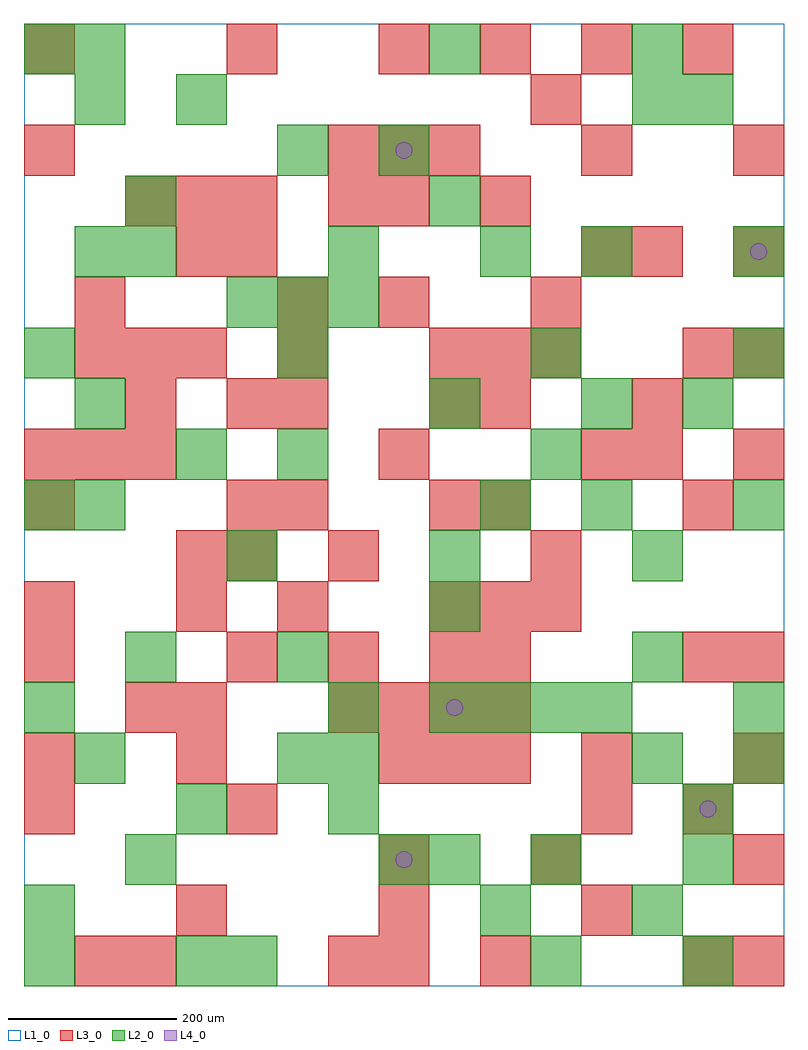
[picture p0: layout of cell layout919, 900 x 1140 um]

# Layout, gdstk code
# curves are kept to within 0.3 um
import gdstk
lib = gdstk.Library(unit=1e-6, precision=1e-09)
def R(c, l, rs):  # rectangles x0, y0, x1, y1
    for r in rs: c.add(gdstk.rectangle(r[:2], r[2:], *l))
def A(c, l, x, y, w, h, nx, ny, dx, dy):  # array of equal rectangles
    R(c, l, [(x+i*dx, y+j*dy, x+i*dx+w, y+j*dy+h) for i in range(nx) for j in range(ny)])
def P(c, l, *ps):  # polygons
    for p in ps: c.add(gdstk.Polygon(p, *l))
L1_0 = (1, 0)
L2_0 = (2, 0)
L3_0 = (3, 0)
L4_0 = (4, 0)

layout919 = lib.new_cell('layout919')
R(layout919, L1_0, [(0,0,900,1140)])
A(layout919, L2_0, 0, 60, 60, 60, 1, 3, 0, 240)
A(layout919, L2_0, 180, 180, 60, 60, 1, 3, 0, 420)
A(layout919, L2_0, 360, 180, 60, 60, 1, 3, 0, 60)
A(layout919, L2_0, 480, 300, 60, 60, 4, 1, 60, 0)
A(layout919, L2_0, 480, 420, 60, 60, 1, 3, 0, 240)
A(layout919, L2_0, 240, 480, 60, 60, 3, 1, 240, 0)
A(layout919, L2_0, 60, 660, 60, 60, 1, 3, 0, 180)
A(layout919, L2_0, 0, 720, 60, 60, 3, 1, 300, 0)
A(layout919, L2_0, 240, 780, 60, 60, 3, 1, 60, 0)
R(layout919, L2_0, [(0,0,60,60), (180,0,240,60), (240,0,300,60), (600,0,660,60), (780,0,840,60), (540,60,600,120), (720,60,780,120), (120,120,180,180), (420,120,480,180), (480,120,540,180), (600,120,660,180), (780,120,840,180), (780,180,840,240), (60,240,120,300), (300,240,360,300), (720,240,780,300), (840,240,900,300), (840,300,900,360), (120,360,180,420), (300,360,360,420), (720,360,780,420), (60,540,120,600), (540,540,600,600), (660,540,720,600), (840,540,900,600), (300,600,360,660), (600,600,660,660), (660,660,720,720), (780,660,840,720), (840,720,900,780), (120,840,180,900), (360,840,420,900), (540,840,600,900), (660,840,720,900), (840,840,900,900), (120,900,180,960), (300,960,360,1020), (420,960,480,1020), (720,1020,780,1080), (780,1020,840,1080), (0,1080,60,1140), (60,1080,120,1140), (480,1080,540,1140), (720,1080,780,1140)])
A(layout919, L3_0, 780, 0, 60, 60, 1, 5, 0, 180)
A(layout919, L3_0, 840, 0, 60, 60, 1, 4, 0, 120)
A(layout919, L3_0, 180, 60, 60, 60, 3, 1, 240, 0)
A(layout919, L3_0, 420, 240, 60, 60, 3, 1, 60, 0)
A(layout919, L3_0, 360, 300, 60, 60, 4, 1, 60, 0)
A(layout919, L3_0, 240, 360, 60, 60, 3, 1, 120, 0)
A(layout919, L3_0, 300, 420, 60, 60, 1, 3, 0, 120)
A(layout919, L3_0, 480, 420, 60, 60, 3, 2, 60, 300)
A(layout919, L3_0, 0, 600, 60, 60, 3, 1, 60, 0)
A(layout919, L3_0, 840, 600, 60, 60, 1, 4, 0, 120)
A(layout919, L3_0, 60, 720, 60, 60, 3, 1, 60, 0)
A(layout919, L3_0, 120, 900, 60, 60, 3, 1, 60, 0)
A(layout919, L3_0, 360, 960, 60, 60, 3, 1, 60, 0)
A(layout919, L3_0, 420, 1080, 60, 60, 4, 1, 120, 0)
R(layout919, L3_0, [(60,0,120,60), (120,0,180,60), (360,0,420,60), (420,0,480,60), (540,0,600,60), (420,120,480,180), (600,120,660,180), (0,180,60,240), (240,180,300,240), (660,180,720,240), (0,240,60,300), (180,240,240,300), (660,240,720,300), (120,300,180,360), (180,300,240,360), (0,360,60,420), (540,360,600,420), (0,420,60,480), (180,420,240,480), (180,480,240,540), (240,480,300,540), (360,480,420,540), (600,480,660,540), (0,540,60,600), (240,540,300,600), (480,540,540,600), (540,540,600,600), (420,600,480,660), (660,600,720,660), (720,600,780,660), (120,660,180,720), (240,660,300,720), (480,660,540,720), (540,660,600,720), (720,660,780,720), (300,720,360,780), (60,780,120,840), (300,780,360,840), (420,780,480,840), (600,780,660,840), (180,840,240,900), (240,840,300,900), (660,840,720,900), (720,840,780,900), (360,900,420,960), (420,900,480,960), (540,900,600,960), (0,960,60,1020), (660,960,720,1020), (600,1020,660,1080), (0,1080,60,1140), (240,1080,300,1140)])
P(layout919, L4_0, [(460,150),(459.239,153.827),(457.071,157.071),(453.827,159.239),(450,160),(446.173,159.239),(442.929,157.071),(440.761,153.827),(440,150),(440.761,146.173),(442.929,142.929),(446.173,140.761),(450,140),(453.827,140.761),(457.071,142.929),(459.239,146.173)],
  [(460,990),(459.239,993.827),(457.071,997.071),(453.827,999.239),(450,1000),(446.173,999.239),(442.929,997.071),(440.761,993.827),(440,990),(440.761,986.173),(442.929,982.929),(446.173,980.761),(450,980),(453.827,980.761),(457.071,982.929),(459.239,986.173)],
  [(520,330),(519.239,333.827),(517.071,337.071),(513.827,339.239),(510,340),(506.173,339.239),(502.929,337.071),(500.761,333.827),(500,330),(500.761,326.173),(502.929,322.929),(506.173,320.761),(510,320),(513.827,320.761),(517.071,322.929),(519.239,326.173)],
  [(820,210),(819.239,213.827),(817.071,217.071),(813.827,219.239),(810,220),(806.173,219.239),(802.929,217.071),(800.761,213.827),(800,210),(800.761,206.173),(802.929,202.929),(806.173,200.761),(810,200),(813.827,200.761),(817.071,202.929),(819.239,206.173)],
  [(880,870),(879.239,873.827),(877.071,877.071),(873.827,879.239),(870,880),(866.173,879.239),(862.929,877.071),(860.761,873.827),(860,870),(860.761,866.173),(862.929,862.929),(866.173,860.761),(870,860),(873.827,860.761),(877.071,862.929),(879.239,866.173)])

lib.write_gds('layout919.gds')
